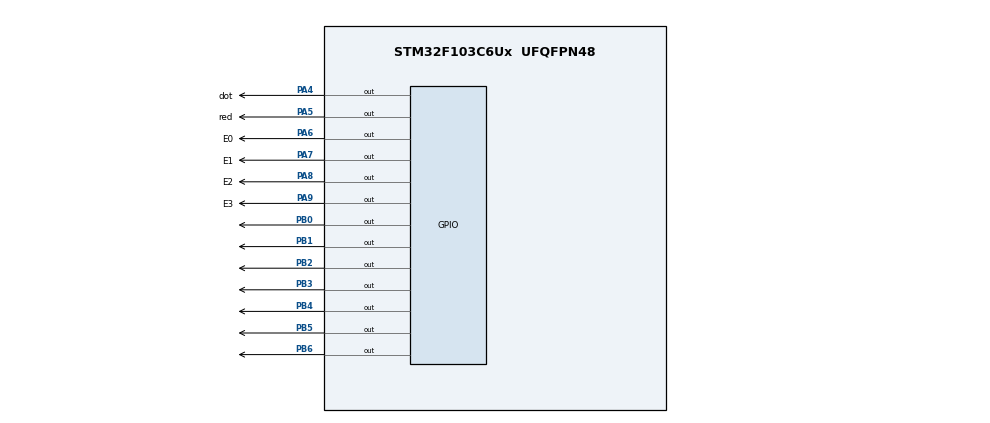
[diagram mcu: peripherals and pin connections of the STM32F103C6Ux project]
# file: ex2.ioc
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Mcu.Family=STM32F1
Mcu.Name=STM32F103C6Ux
Mcu.Package=UFQFPN48
NVIC.PriorityGroup=NVIC_PRIORITYGROUP_4
NVIC.TIM2_IRQn=true\:0\:0\:false\:false\:true\:true\:true
PA4.GPIO_Label=dot
PA4.Signal=GPIO_Output
PA5.GPIO_Label=red
PA5.Signal=GPIO_Output
PA6.GPIO_Label=E0
PA6.Signal=GPIO_Output
PA7.GPIO_Label=E1
PA7.Signal=GPIO_Output
PA8.GPIO_Label=E2
PA8.Signal=GPIO_Output
PA9.GPIO_Label=E3
PA9.Signal=GPIO_Output
PB0.Signal=GPIO_Output
PB1.Signal=GPIO_Output
PB2.Signal=GPIO_Output
PB3.Signal=GPIO_Output
PB4.Signal=GPIO_Output
PB5.Signal=GPIO_Output
PB6.Signal=GPIO_Output
ProjectManager.HeapSize=0x200
ProjectManager.StackSize=0x400
ProjectManager.TargetToolchain=STM32CubeIDE
RCC.APB1Freq_Value=8000000
RCC.APB2Freq_Value=8000000
TIM2.Period=9
TIM2.Prescaler=7999
VP_SYS_VS_ND.Mode=No_Debug
VP_TIM2_VS_ClockSourceINT.Mode=Internal
board=custom

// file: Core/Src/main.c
/* USER CODE BEGIN Header */
/**
  ******************************************************************************
  * @file           : main.c
  * @brief          : Main program body
  ******************************************************************************
  * @attention
  *
  * <h2><center>&copy; Copyright (c) 2023 STMicroelectronics.
  * All rights reserved.</center></h2>
  *
  * This software component is licensed by ST under BSD 3-Clause license,
  * the "License"; You may not use this file except in compliance with the
  * License. You may obtain a copy of the License at:
  *                        opensource.org/licenses/BSD-3-Clause
  *
  ******************************************************************************
  */
/* USER CODE END Header */
#include "main.h"

TIM_HandleTypeDef htim2;

void SystemClock_Config(void);
static void MX_GPIO_Init(void);
static void MX_TIM2_Init(void);

int main(void)
{

  /* MCU Configuration--------------------------------------------------------*/

  /* Reset of all peripherals, Initializes the Flash interface and the Systick. */
  HAL_Init();

  /* Configure the system clock */
  SystemClock_Config();

  /* Initialize all configured peripherals */
  MX_GPIO_Init();
  MX_TIM2_Init();
  /* USER CODE BEGIN 2 */
  HAL_TIM_Base_Start_IT(&htim2);
  /* USER CODE END 2 */

  /* Infinite loop */
  while (1)
  {
	  HAL_GPIO_WritePin(dot_GPIO_Port, dot_Pin, RESET);
  }
}

void SystemClock_Config(void)
{
  RCC_OscInitTypeDef RCC_OscInitStruct = {0};
  RCC_ClkInitTypeDef RCC_ClkInitStruct = {0};

  /** Initializes the RCC Oscillators according to the specified parameters
  * in the RCC_OscInitTypeDef structure.
  */
  RCC_OscInitStruct.OscillatorType = RCC_OSCILLATORTYPE_HSI;
  RCC_OscInitStruct.HSIState = RCC_HSI_ON;
  RCC_OscInitStruct.HSICalibrationValue = RCC_HSICALIBRATION_DEFAULT;
  RCC_OscInitStruct.PLL.PLLState = RCC_PLL_NONE;
  if (HAL_RCC_OscConfig(&RCC_OscInitStruct) != HAL_OK)
  {
    Error_Handler();
  }
  /** Initializes the CPU, AHB and APB buses clocks
  */
  RCC_ClkInitStruct.ClockType = RCC_CLOCKTYPE_HCLK|RCC_CLOCKTYPE_SYSCLK
                              |RCC_CLOCKTYPE_PCLK1|RCC_CLOCKTYPE_PCLK2;
  RCC_ClkInitStruct.SYSCLKSource = RCC_SYSCLKSOURCE_HSI;
  RCC_ClkInitStruct.AHBCLKDivider = RCC_SYSCLK_DIV1;
  RCC_ClkInitStruct.APB1CLKDivider = RCC_HCLK_DIV1;
  RCC_ClkInitStruct.APB2CLKDivider = RCC_HCLK_DIV1;

  if (HAL_RCC_ClockConfig(&RCC_ClkInitStruct, FLASH_LATENCY_0) != HAL_OK)
  {
    Error_Handler();
  }
}

static void MX_TIM2_Init(void)
{

  TIM_ClockConfigTypeDef sClockSourceConfig = {0};
  TIM_MasterConfigTypeDef sMasterConfig = {0};

  htim2.Instance = TIM2;
  htim2.Init.Prescaler = 7999;
  htim2.Init.CounterMode = TIM_COUNTERMODE_UP;
  htim2.Init.Period = 9;
  htim2.Init.ClockDivision = TIM_CLOCKDIVISION_DIV1;
  htim2.Init.AutoReloadPreload = TIM_AUTORELOAD_PRELOAD_DISABLE;
  if (HAL_TIM_Base_Init(&htim2) != HAL_OK)
  {
    Error_Handler();
  }
  sClockSourceConfig.ClockSource = TIM_CLOCKSOURCE_INTERNAL;
  if (HAL_TIM_ConfigClockSource(&htim2, &sClockSourceConfig) != HAL_OK)
  {
    Error_Handler();
  }
  sMasterConfig.MasterOutputTrigger = TIM_TRGO_RESET;
  sMasterConfig.MasterSlaveMode = TIM_MASTERSLAVEMODE_DISABLE;
  if (HAL_TIMEx_MasterConfigSynchronization(&htim2, &sMasterConfig) != HAL_OK)
  {
    Error_Handler();
  }

}

static void MX_GPIO_Init(void)
{
  GPIO_InitTypeDef GPIO_InitStruct = {0};

  /* GPIO Ports Clock Enable */
  __HAL_RCC_GPIOA_CLK_ENABLE();
  __HAL_RCC_GPIOB_CLK_ENABLE();

  /*Configure GPIO pin Output Level */
  HAL_GPIO_WritePin(GPIOA, dot_Pin|red_Pin|E0_Pin|E1_Pin
                          |E2_Pin|E3_Pin, GPIO_PIN_RESET);

  /*Configure GPIO pin Output Level */
  HAL_GPIO_WritePin(GPIOB, GPIO_PIN_0|GPIO_PIN_1|GPIO_PIN_2|GPIO_PIN_3
                          |GPIO_PIN_4|GPIO_PIN_5|GPIO_PIN_6, GPIO_PIN_RESET);

  /*Configure GPIO pins : dot_Pin red_Pin E0_Pin E1_Pin
                           E2_Pin E3_Pin */
  GPIO_InitStruct.Pin = dot_Pin|red_Pin|E0_Pin|E1_Pin
                          |E2_Pin|E3_Pin;
  GPIO_InitStruct.Mode = GPIO_MODE_OUTPUT_PP;
  GPIO_InitStruct.Pull = GPIO_NOPULL;
  GPIO_InitStruct.Speed = GPIO_SPEED_FREQ_LOW;
  HAL_GPIO_Init(GPIOA, &GPIO_InitStruct);

  /*Configure GPIO pins : PB0 PB1 PB2 PB3
                           PB4 PB5 PB6 */
  GPIO_InitStruct.Pin = GPIO_PIN_0|GPIO_PIN_1|GPIO_PIN_2|GPIO_PIN_3
                          |GPIO_PIN_4|GPIO_PIN_5|GPIO_PIN_6;
  GPIO_InitStruct.Mode = GPIO_MODE_OUTPUT_PP;
  GPIO_InitStruct.Pull = GPIO_NOPULL;
  GPIO_InitStruct.Speed = GPIO_SPEED_FREQ_LOW;
  HAL_GPIO_Init(GPIOB, &GPIO_InitStruct);

}

/* USER CODE BEGIN 4 */
void display7SEG(int num)
{
    const int segments[10] = {
        0b00111111, // 0
        0b00000110, // 1
        0b01011011, // 2
        0b01001111, // 3
        0b01100110, // 4
        0b01101101, // 5
        0b01111101, // 6
        0b00000111, // 7
        0b01111111, // 8
        0b01101111  // 9
    };

    uint8_t displaySegments = segments[num];

    HAL_GPIO_WritePin(GPIOB, GPIO_PIN_0, (displaySegments & 0x01) ? GPIO_PIN_RESET : GPIO_PIN_SET);
    HAL_GPIO_WritePin(GPIOB, GPIO_PIN_1, ((displaySegments >> 1) & 0x01) ? GPIO_PIN_RESET : GPIO_PIN_SET);
    HAL_GPIO_WritePin(GPIOB, GPIO_PIN_2, ((displaySegments >> 2) & 0x01) ? GPIO_PIN_RESET : GPIO_PIN_SET);
    HAL_GPIO_WritePin(GPIOB, GPIO_PIN_3, ((displaySegments >> 3) & 0x01) ? GPIO_PIN_RESET : GPIO_PIN_SET);
    HAL_GPIO_WritePin(GPIOB, GPIO_PIN_4, ((displaySegments >> 4) & 0x01) ? GPIO_PIN_RESET : GPIO_PIN_SET);
    HAL_GPIO_WritePin(GPIOB, GPIO_PIN_5, ((displaySegments >> 5) & 0x01) ? GPIO_PIN_RESET : GPIO_PIN_SET);
    HAL_GPIO_WritePin(GPIOB, GPIO_PIN_6, ((displaySegments >> 6) & 0x01) ? GPIO_PIN_RESET : GPIO_PIN_SET);
}

int counter = 50, state = 0;
void HAL_TIM_PeriodElapsedCallback ( TIM_HandleTypeDef * htim ) {
	counter--;
	if(counter <= 0){
		counter = 50;
		HAL_GPIO_TogglePin(red_GPIO_Port, red_Pin);
		if(state == 0) {
			HAL_GPIO_WritePin(E0_GPIO_Port, E0_Pin, RESET);
			HAL_GPIO_WritePin(E1_GPIO_Port, E1_Pin, SET);
			HAL_GPIO_WritePin(E2_GPIO_Port, E2_Pin, SET);
			HAL_GPIO_WritePin(E3_GPIO_Port, E3_Pin, SET);
			display7SEG(1);
			state = 1;
		}
		else if(state == 1) {
			HAL_GPIO_WritePin(E0_GPIO_Port, E0_Pin, SET);
			HAL_GPIO_WritePin(E1_GPIO_Port, E1_Pin, RESET);
			HAL_GPIO_WritePin(E2_GPIO_Port, E2_Pin, SET);
			HAL_GPIO_WritePin(E3_GPIO_Port, E3_Pin, SET);
			display7SEG(2);
			state = 2;
		}
		else if(state == 2) {
			HAL_GPIO_WritePin(E0_GPIO_Port, E0_Pin, SET);
			HAL_GPIO_WritePin(E1_GPIO_Port, E1_Pin, SET);
			HAL_GPIO_WritePin(E2_GPIO_Port, E2_Pin, RESET);
			HAL_GPIO_WritePin(E3_GPIO_Port, E3_Pin, SET);
			display7SEG(3);
			state = 3;
		}
		else {
			HAL_GPIO_WritePin(E0_GPIO_Port, E0_Pin, SET);
			HAL_GPIO_WritePin(E1_GPIO_Port, E1_Pin, SET);
			HAL_GPIO_WritePin(E2_GPIO_Port, E2_Pin, SET);
			HAL_GPIO_WritePin(E3_GPIO_Port, E3_Pin, RESET);
			display7SEG(0);
			state = 0;
		}
	}
}
/* USER CODE END 4 */

void Error_Handler(void)
{
  __disable_irq();
  while (1)
  {
  }
}

/************************ (C) COPYRIGHT STMicroelectronics *****END OF FILE****/
